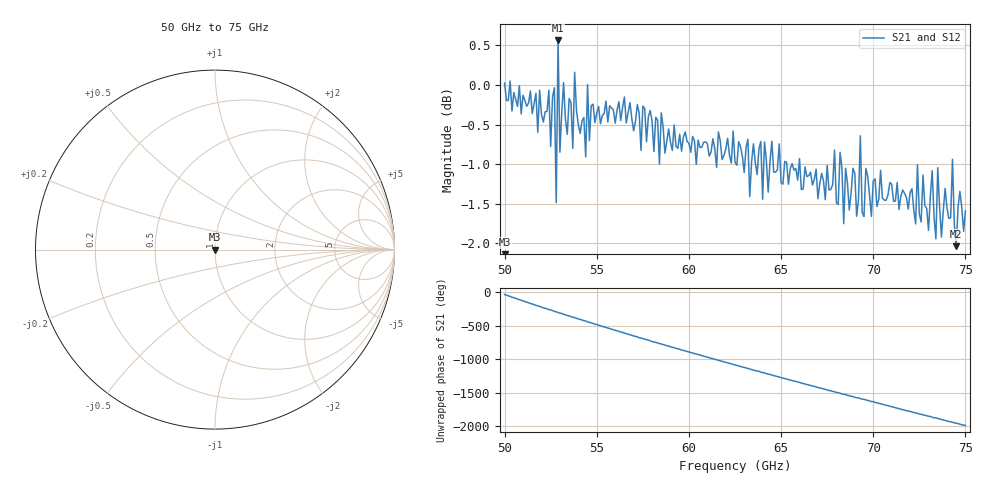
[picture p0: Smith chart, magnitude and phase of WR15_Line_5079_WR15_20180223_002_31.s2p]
# GHZ S RI R 50
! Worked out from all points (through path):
!   251 points, 50 GHz to 75 GHz, reference 50 ohm
!   highest |S21| = 0.56 dB at 52.9 GHz (marker M1); lowest = -2.0 dB at 74.5 GHz (marker M2)
!   lowest |S11| = - dB at 50 GHz (marker M3), VSWR 1.00, Z = 50 + j2.42e-15 ohm
!   |S11| at or under -10 dB: start of sweep to end of sweep
!   |S22| runs from - to - dB; largest |S21 - S12| = 2e-15
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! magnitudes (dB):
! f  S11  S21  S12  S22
! 50 GHz  -  0.0  0.0  -
! 52.4 GHz  -  -0.1  -0.1  -
! 52.5 GHz  -  -0.8  -0.8  -
! 52.7 GHz  -  0.0  0.0  -
! 52.8 GHz  -  -1.5  -1.5  -
! 52.9 GHz  -  0.6  0.6  -
! 53 GHz  -  -0.8  -0.8  -
! 53.2 GHz  -  0.0  0.0  -
! 54.2 GHz  -  -0.5  -0.5  -
! 58.4 GHz  -  -1.0  -1.0  -
! 62.5 GHz  -  -1.0  -1.0  -
! 66.7 GHz  -  -1.3  -1.3  -
! 70.9 GHz  -  -1.2  -1.2  -
! 72.4 GHz  -  -1.0  -1.0  -
! 73 GHz  -  -1.8  -1.8  -
! 73.2 GHz  -  -1.1  -1.1  -
! 73.4 GHz  -  -1.9  -1.9  -
! 73.5 GHz  -  -1.0  -1.0  -
! 73.7 GHz  -  -1.9  -1.9  -
! 74.3 GHz  -  -0.9  -0.9  -
! 74.5 GHz  -  -2.0  -2.0  -
! 75 GHz  -  -1.6  -1.6  -
